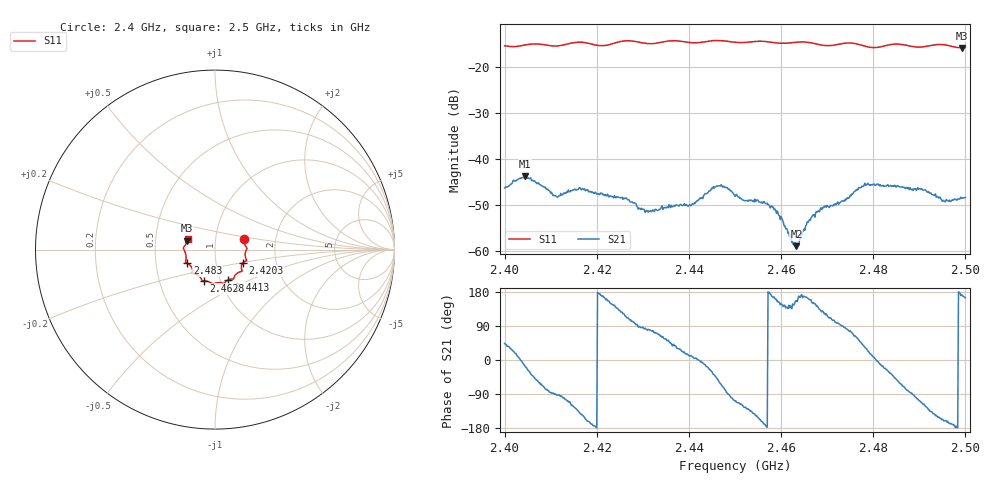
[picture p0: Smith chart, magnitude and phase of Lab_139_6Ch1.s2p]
# Hz S RI R 50
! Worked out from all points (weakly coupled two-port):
!   601 points, 2.4 GHz to 2.5 GHz, reference 50 ohm
!   highest |S21| = -43.70 dB at 2.4045 GHz (marker M1); lowest = -58.9 dB at 2.4633 GHz (marker M2)
!   lowest |S11| = -15.8 dB at 2.4993 GHz (marker M3), VSWR 1.39, Z = 36.5 + j3.71 ohm
!   |S11| at or under -10 dB: start of sweep to end of sweep
!   S12 and S22 are empty: the file has one direction only
!   S11 on the Smith chart (normalised r, x): 2.4 GHz: 1.37, +0.16; 2.4203 GHz: 1.35, -0.21; 2.4413 GHz: 1.09, -0.38; 2.4628 GHz: 0.83, -0.30; 2.483 GHz: 0.72, -0.11; 2.5 GHz: 0.73, +0.09
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2.4e9  0.1608 0.0568  0.00352 0.00337  0 0  0 0
2.4045e9  0.1734 0.0155  0.00621 -0.00202  0 0  0 0
2.411e9  0.1683 -0.0208  4.21e-05 -0.004  0 0  0 0
2.416667e9  0.176 -0.0615  -0.0037 -0.00282  0 0  0 0
2.420333e9  0.1552 -0.0741  -0.00423 0.00025  0 0  0 0
2.4265e9  0.1518 -0.1201  -0.00137 0.00347  0 0  0 0
2.430833e9  0.1249 -0.1304  0.000424 0.00268  0 0  0 0
2.433333e9  0.108 -0.1485  0.00106 0.00258  0 0  0 0
2.441333e9  0.0742 -0.1681  0.00329 0.000252  0 0  0 0
2.4465e9  0.0485 -0.1886  0.00279 -0.00429  0 0  0 0
2.45e9  0.0294 -0.184  -0.00122 -0.00374  0 0  0 0
2.458333e9  -0.0255 -0.1836  -0.00291 0.000803  0 0  0 0
2.462833e9  -0.0629 -0.1746  -0.00103 0.000688  0 0  0 0
2.463333e9  -0.0656 -0.1748  -0.00103 0.000469  0 0  0 0
2.466667e9  -0.0743 -0.1675  -0.00208 0.00113  0 0  0 0
2.478333e9  -0.1251 -0.1129  0.00446 0.00272  0 0  0 0
2.483e9  -0.1548 -0.0765  0.00464 -0.00238  0 0  0 0
2.483333e9  -0.1569 -0.0756  0.0043 -0.00266  0 0  0 0
2.491e9  -0.1657 -0.0171  -0.00207 -0.00412  0 0  0 0
2.495167e9  -0.1751 0.0118  -0.00332 -0.00134  0 0  0 0
2.499333e9  -0.1543 0.0495  -0.00369 0.000679  0 0  0 0
2.5e9  -0.1528 0.0585  -0.00368 0.00107  0 0  0 0
